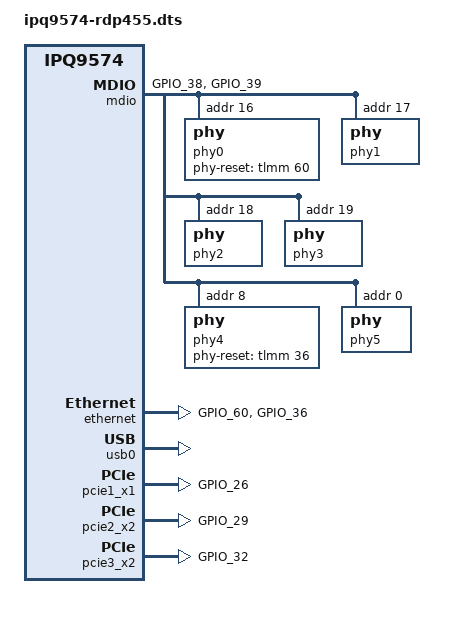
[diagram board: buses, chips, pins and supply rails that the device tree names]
// SPDX-License-Identifier: GPL-2.0-only
/*
* Copyright (c) 2023, Qualcomm Innovation Center, Inc. All rights reserved.
*/

/dts-v1/;

#include "ipq9574-default.dts"

/ {
	/* config_name will be patched via fdt fixup for rdp455.
	*  Please refer to the board file.
	*/

	soc: soc {
		tlmm: pinctrl@1000000 {

			mdio_pinmux: mdio {
				mdc {
					pins = "GPIO_38";
					function = "mdc";
					drive-strength = <DRIVE_STRENGTH_8MA>;
					bias-disable;
				};

				mdio {
					pins = "GPIO_39";
					function = "mdio";
					drive-strength = <DRIVE_STRENGTH_8MA>;
					bias-pull-up;
				};
			};

			phy_rst_pinmux: phy_rst {
				qti_8085_rst {
					pins = "GPIO_60";
					drive-strength = <DRIVE_STRENGTH_8MA>;
					bias-pull-up;
				};

				qti_aquantia_rst {
					pins = "GPIO_36";
					drive-strength = <DRIVE_STRENGTH_8MA>;
					bias-pull-up;
				};
			};

			pcie1_x1_pinmux: pci_pins {
				pci_rst {
					pins = "GPIO_26";
					drive-strength = <DRIVE_STRENGTH_8MA>;
					bias-pull-up;
				};
			};

			pcie2_x2_pinmux: pci_pins {
				pci_rst {
					pins = "GPIO_29";
					drive-strength = <DRIVE_STRENGTH_8MA>;
					bias-pull-up;
				};
			};

			pcie3_x2_pinmux: pci_pins {
				pci_rst {
					pins = "GPIO_32";
					drive-strength = <DRIVE_STRENGTH_8MA>;
					bias-pull-up;
				};
			};
		};

		mdio: mdio@90000 {
			pinctrl-names = "default";
			pinctrl-0 = <&mdio_pinmux>;
			status = "okay";

			phy0: phy@16 {
				phy-reset-gpio = <&tlmm 60 0>;
				reg = <16>;
				phy_id = <QCA8075_PHY_TYPE>;
				id = <1>;
				uniphy_id = <0>;
				uniphy_type = <0>;
			};

			phy1: phy@17 {
				reg = <17>;
				phy_id = <QCA8075_PHY_TYPE>;
				id = <2>;
				uniphy_id = <0>;
				uniphy_type = <0>;
			};

			phy2: phy@18 {
				reg = <18>;
				phy_id = <QCA8075_PHY_TYPE>;
				id = <3>;
				uniphy_id = <0>;
				uniphy_type = <0>;
			};

			phy3: phy@19 {
				reg = <19>;
				phy_id = <QCA8075_PHY_TYPE>;
				id = <4>;
				uniphy_id = <0>;
				uniphy_type = <0>;
			};

			phy4: phy@8 {
				phy-reset-gpio = <&tlmm 36 0>;
				reg = <8>;
				phy_id = <AQ_PHY_TYPE>;
				phy-mode = "usxgmii";
				id = <5>;
				uniphy_id = <1>;
				uniphy_type = <1>;
				xgmac;
			};

			phy5: phy@0 {
				reg = <0>;
				phy_id = <AQ_PHY_TYPE>;
				phy-mode = "usxgmii";
				id = <6>;
				uniphy_id = <2>;
				uniphy_type = <0>;
				xgmac;
			};
		};

		ethernet: nss-switch {
			pinctrl-names = "default";
			pinctrl-0 = <&phy_rst_pinmux>;
			phy-handle0 = <&phy0>;
			phy-handle1 = <&phy1>;
			phy-handle2 = <&phy2>;
			phy-handle3 = <&phy3>;
			phy-handle4 = <&phy4>;
			phy-handle5 = <&phy5>;
			status = "okay";
		};

		qmp_ssphy_0: ssphy@7D000 {
			status = "okay";
		};

		qusb2_phy_0: qusb2@7B000 {
			status = "okay";
		};

		usb0: usb@8af8800 {
			status = "okay";

			dwc3@8a00000 {
				phys = <&qusb2_phy_0>, <&qmp_ssphy_0>;
				phy-names = "usb2-phy", "usb3-phy";
				maximum-speed = "super-speed";
			};
		};


		pcie1_x1: pci@10000000 {
			pinctrl-names = "default";
			pinctrl-0 = <&pcie1_x1_pinmux>;
			status = "okay";
			perst_gpio = <&tlmm 26 0>;
		};

		pcie2_x2: pci@20000000 {
			pinctrl-names = "default";
			pinctrl-0 = <&pcie2_x2_pinmux>;
			status = "okay";
			perst_gpio = <&tlmm 29 0>;
		};

		pcie3_x2: pci@18000000 {
			pinctrl-names = "default";
			pinctrl-0 = <&pcie3_x2_pinmux>;
			status = "okay";
			perst_gpio = <&tlmm 32 0>;
		};
	};
};
